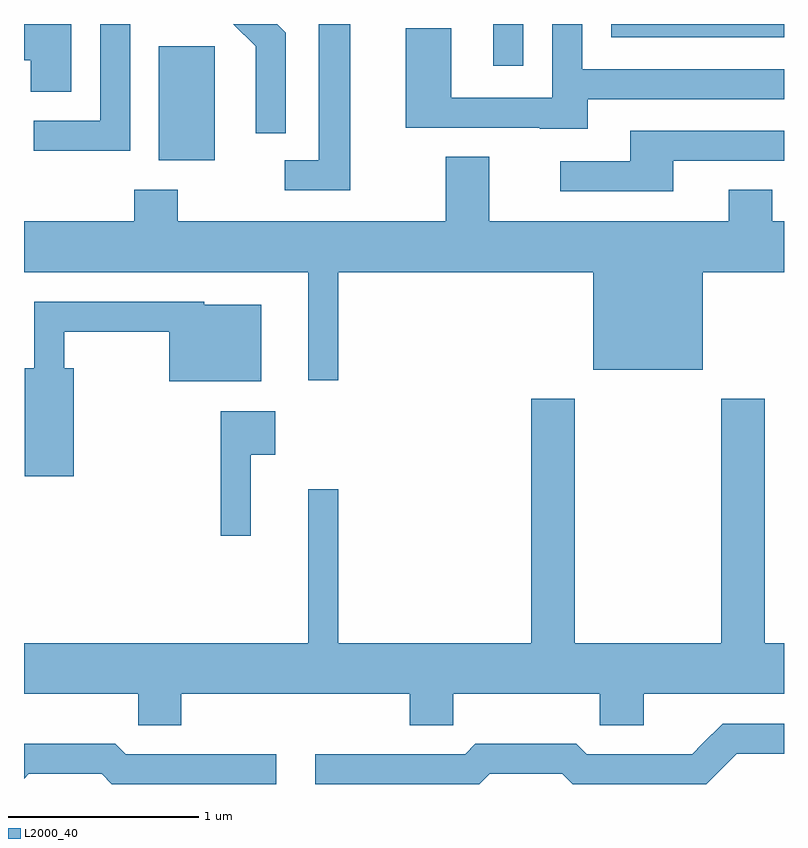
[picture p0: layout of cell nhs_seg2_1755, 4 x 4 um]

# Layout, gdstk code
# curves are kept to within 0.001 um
import gdstk
lib = gdstk.Library(unit=1e-6, precision=1e-09)
def R(c, l, rs):  # rectangles x0, y0, x1, y1
    for r in rs: c.add(gdstk.rectangle(r[:2], r[2:], *l))
def P(c, l, *ps):  # polygons
    for p in ps: c.add(gdstk.Polygon(p, *l))
L2000_40 = (2000, 40)

nhs_seg2_1755 = lib.new_cell('nhs_seg2_1755')
R(nhs_seg2_1755, L2000_40, [(236.321,1091.086,236.614,1091.684), (238.081,1091.583,238.239,1091.802), (238.701,1091.731,239.611,1091.802)])
P(nhs_seg2_1755, L2000_40, [(236.989,1091.757),(236.944,1091.802),(236.713,1091.802),(236.831,1091.684),(236.831,1091.228),(236.989,1091.228)],
  [(235.859,1091.802),(235.611,1091.802),(235.611,1091.611),(235.646,1091.611),(235.646,1091.446),(235.859,1091.446)],
  [(237.329,1091.802),(237.161,1091.802),(237.161,1091.084),(236.983,1091.084),(236.983,1090.926),(237.329,1090.926)],
  [(238.579,1091.406),(239.611,1091.406),(239.611,1091.564),(238.549,1091.564),(238.549,1091.802),(238.391,1091.802),(238.391,1091.414),(237.859,1091.414),(237.859,1091.779),(237.621,1091.779),(237.621,1091.256),(238.325,1091.256),(238.325,1091.251),(238.579,1091.251)],
  [(236.169,1091.802),(236.011,1091.802),(236.011,1091.294),(235.663,1091.294),(235.663,1091.136),(236.169,1091.136)],
  [(239.029,1091.081),(239.611,1091.081),(239.611,1091.239),(238.801,1091.239),(238.801,1091.079),(238.433,1091.079),(238.433,1090.921),(239.029,1090.921)],
  [(237.264,1090.496),(238.606,1090.496),(238.606,1089.981),(239.184,1089.981),(239.184,1090.496),(239.611,1090.496),(239.611,1090.764),(239.549,1090.764),(239.549,1090.929),(239.321,1090.929),(239.321,1090.764),(238.059,1090.764),(238.059,1091.104),(237.831,1091.104),(237.831,1090.764),(236.419,1090.764),(236.419,1090.929),(236.191,1090.929),(236.191,1090.764),(235.611,1090.764),(235.611,1090.496),(237.106,1090.496),(237.106,1089.928),(237.264,1089.928)],
  [(235.874,1089.989),(235.824,1089.989),(235.824,1090.181),(236.376,1090.181),(236.376,1089.921),(236.859,1089.921),(236.859,1090.324),(236.56,1090.324),(236.56,1090.339),(235.666,1090.339),(235.666,1089.989),(235.616,1089.989),(235.616,1089.421),(235.874,1089.421)],
  [(236.439,1088.276),(237.641,1088.276),(237.641,1088.111),(237.869,1088.111),(237.869,1088.276),(238.641,1088.276),(238.641,1088.111),(238.874,1088.111),(238.874,1088.276),(239.611,1088.276),(239.611,1088.544),(239.509,1088.544),(239.509,1089.829),(239.281,1089.829),(239.281,1088.544),(238.509,1088.544),(238.509,1089.829),(238.281,1089.829),(238.281,1088.544),(237.264,1088.544),(237.264,1089.353),(237.106,1089.353),(237.106,1088.544),(235.611,1088.544),(235.611,1088.276),(236.211,1088.276),(236.211,1088.111),(236.439,1088.111)],
  [(236.804,1089.536),(236.934,1089.536),(236.934,1089.764),(236.646,1089.764),(236.646,1089.108),(236.804,1089.108)],
  [(238.062,1087.856),(238.444,1087.856),(238.498,1087.802),(239.203,1087.802),(239.362,1087.961),(239.611,1087.961),(239.611,1088.119),(239.289,1088.119),(239.129,1087.959),(238.572,1087.959),(238.517,1088.014),(237.989,1088.014),(237.934,1087.959),(237.143,1087.959),(237.143,1087.802),(238.007,1087.802)],
  [(236.938,1087.959),(236.147,1087.959),(236.092,1088.014),(235.611,1088.014),(235.611,1087.83),(235.637,1087.856),(236.019,1087.856),(236.073,1087.802),(236.938,1087.802)])

lib.write_gds('nhs_seg2_1755.gds')
